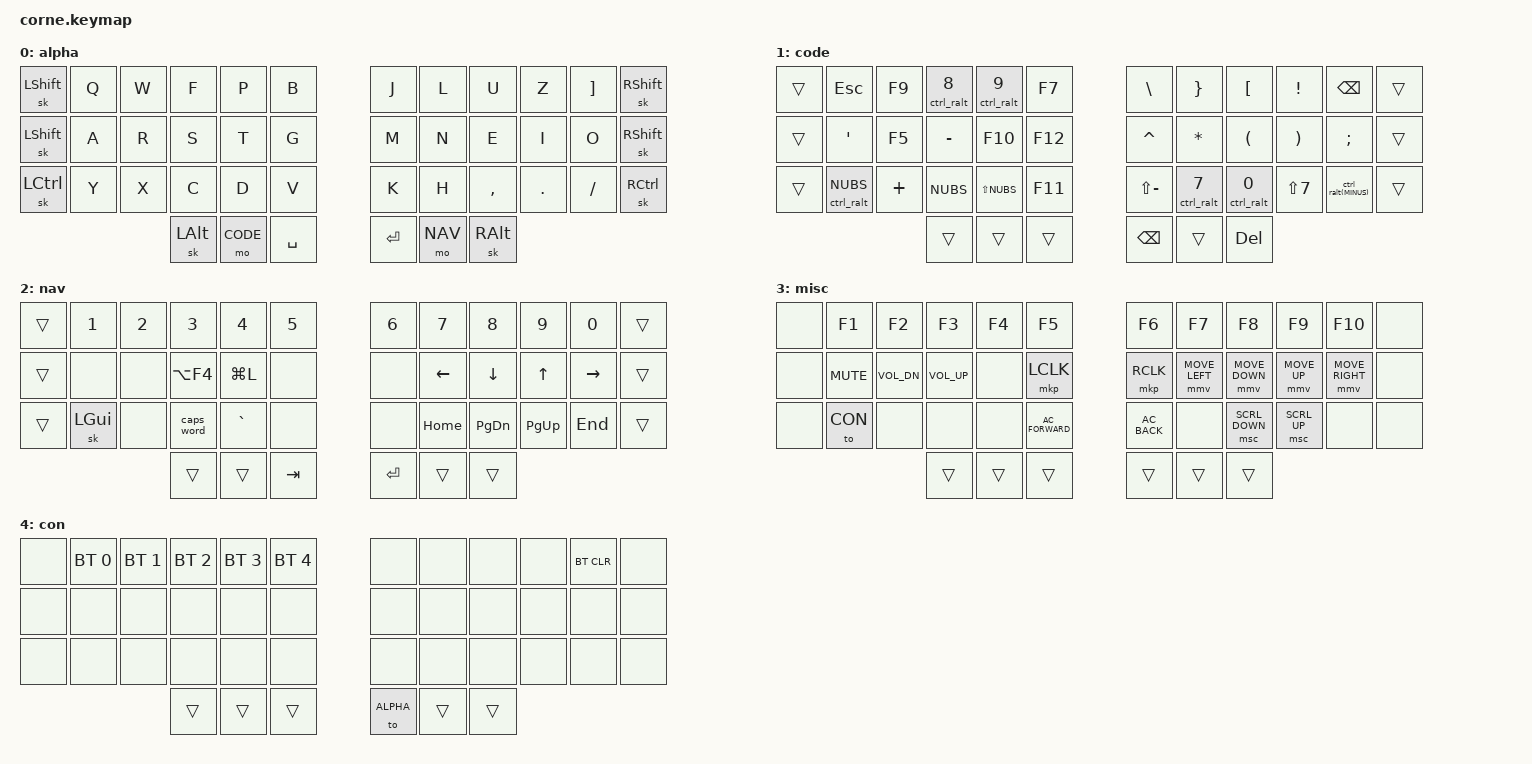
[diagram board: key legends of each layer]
#include <behaviors.dtsi>
#include <dt-bindings/zmk/keys.h>
#include <dt-bindings/zmk/bt.h>
#include <dt-bindings/zmk/outputs.h>
#include <dt-bindings/zmk/pointing.h>

#define ALPHA 0
#define CODE  1
#define NAV   2
#define MISC  3

#define CON   4

&caps_word {
  continue-list = <UNDERSCORE MINUS BACKSPACE QMARK>;
};

&mt {
    tapping-term-ms = <150>; 
};

/ {

    conditional_layers {
        compatible = "zmk,conditional-layers";
        misc_layer {
            if-layers = <CODE NAV>;
            then-layer = <MISC>;
        };
    };

    macros {
        // this macro is used to type german umlauts
        ctrl_ralt: ctrl_ralt {
            compatible = "zmk,behavior-macro-one-param";
            #binding-cells = <1>;
            bindings
                = <&macro_press &kp LCTRL>
                , <&macro_press &kp RALT>
                , <&macro_param_1to1>
                , <&macro_press &kp MACRO_PLACEHOLDER>
                , <&macro_pause_for_release>
                , <&macro_param_1to1>
                , <&macro_release &kp MACRO_PLACEHOLDER>
                , <&macro_release &kp RALT>
                , <&macro_release &kp LCTRL>
                ;
        };
    };

    keymap {
        compatible = "zmk,keymap";

        alpha { // Layer 0
// -----------------------------------------------------------------------------------------
// | SHFT |  Q  |  W  |  F  |  F  |  P  |   |  J  |  L   |  U  |  Y  |  +  | SHFT |
// | SHFT |  A  |  R  |  S  |  T  |  G  |   |  M  |  N   |  E  |  I  |  O  | SHFT |
// | CTRL |  Z  |  X  |  C  |  D  |  V  |   |  K  |  H   |  ,  |  .  |  -  | CTRL |
//                    | ALT | L2  | SPC |   | ENT | L3   | ALT |
            bindings = <
    &sk LSHIFT   &kp Q        &kp W     &kp F     &kp P     &kp B             &kp J     &kp L     &kp U     &kp Z     &kp RBKT      &sk RSHIFT
    &sk LSHIFT   &kp A        &kp R     &kp S     &kp T     &kp G             &kp M     &kp N     &kp E     &kp I     &kp O         &sk RSHIFT
    &sk LCTRL    &kp Y        &kp X     &kp C     &kp D     &kp V             &kp K     &kp H     &kp COMMA &kp DOT   &kp FSLH      &sk RCTRL
                                        &sk LALT  &mo CODE  &kp SPACE         &kp ENTER &mo NAV   &sk RALT 
            >;
        };

        code {
// see martlet
                        bindings = <
    &trans     &kp ESC          &kp F9    &ctrl_ralt N8  &ctrl_ralt N9   &kp F7            &kp BSLH       &kp RBRC       &kp LBKT        &kp EXCL    &kp BSPC           &trans
    &trans     &kp APOS         &kp F5    &kp MINUS      &kp F10         &kp F12           &kp CARET      &kp STAR       &kp LPAR        &kp RPAR    &kp SEMI           &trans
    &trans     &ctrl_ralt NUBS  &kp PLUS  &kp NUBS       &kp LS(NUBS)    &kp F11           &kp LS(MINUS)  &ctrl_ralt N7  &ctrl_ralt N0   &kp LS(N7)  &ctrl_ralt(MINUS)  &trans
                                          &trans         &trans          &trans            &kp BSPC       &trans         &kp DEL 
                        >;
                };

        nav {
// see martlet
            bindings = <
    &trans     &kp N1           &kp N2    &kp N3        &kp N4         &kp N5            &kp N6         &kp N7        &kp N8         &kp N9     &kp N0             &trans
    &trans     &none            &none     &kp LA(F4)    &kp LG(L)      &none             &none          &kp LEFT      &kp DOWN       &kp UP     &kp RIGHT          &trans
    &trans     &sk LGUI         &none     &caps_word    &kp GRAVE      &none             &none          &kp HOME      &kp PG_DN      &kp PG_UP  &kp END            &trans
                                          &trans        &trans         &kp TAB           &kp ENTER      &trans        &trans         
            >;
            };

        misc {
// see martlet
            bindings = <
    &none      &kp F1           &kp F2        &kp F3        &kp F4         &kp F5            &kp F6         &kp F7          &kp F8          &kp F9        &kp F10            &none
    &none      &kp C_MUTE       &kp C_VOL_DN  &kp C_VOL_UP  &none          &mkp LCLK         &mkp RCLK      &mmv MOVE_LEFT  &mmv MOVE_DOWN  &mmv MOVE_UP  &mmv MOVE_RIGHT    &none
    &none      &to CON          &none         &none         &none          &kp C_AC_FORWARD  &kp C_AC_BACK  &none           &msc SCRL_DOWN  &msc SCRL_UP  &none              &none
                                              &trans        &trans         &trans            &trans         &trans          &trans              
            >;
            };

        con {
// see martlet
            bindings = <
    &none      &bt BT_SEL 0     &bt BT_SEL 1  &bt BT_SEL 2   &bt BT_SEL 3  &bt BT_SEL 4      &none         &none           &none           &none        &bt BT_CLR         &none
    &none      &none            &none         &none          &none         &none             &none         &none           &none           &none        &none              &none
    &none      &none            &none         &none          &none         &none             &none         &none           &none           &none        &none              &none
                                              &trans         &trans        &trans            &to ALPHA     &trans          &trans              
            >;
            };


        };
};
